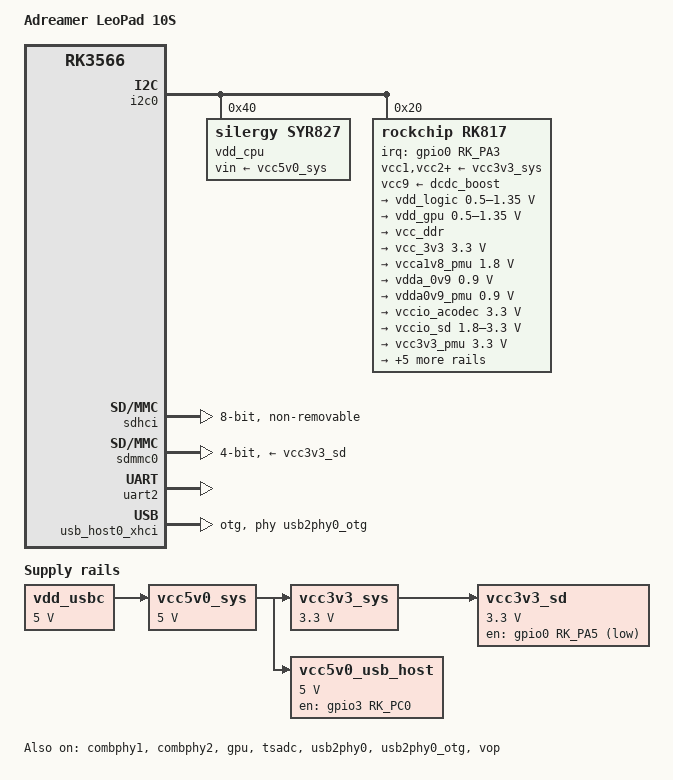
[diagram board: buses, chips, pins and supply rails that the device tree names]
// SPDX-License-Identifier: GPL-2.0-or-later OR MIT
/*
 * Copyright (c) 2025 Serhii Serhieiev <adron@ngnp.net>
 */

/dts-v1/;
#include <dt-bindings/gpio/gpio.h>
#include <dt-bindings/input/input.h>
#include <dt-bindings/leds/common.h>
#include <dt-bindings/pinctrl/rockchip.h>
#include <dt-bindings/soc/rockchip,vop2.h>
#include "rk3566.dtsi"

/ {
	model = "Adreamer LeoPad 10S";
	compatible = "adreamer,leopad-10s", "rockchip,rk3566";

	aliases {
		mmc0 = &sdmmc0;
		mmc1 = &sdhci;
	};

	chosen: chosen {
		stdout-path = "serial2:1500000n8";
	};

	vdd_usbc: vdd-usbc-regulator {
		compatible = "regulator-fixed";
		regulator-name = "vdd_usbc";
		regulator-always-on;
		regulator-boot-on;
		regulator-min-microvolt = <5000000>;
		regulator-max-microvolt = <5000000>;
	};

	vcc3v3_sys: regulator-vcc3v3-sys {
		compatible = "regulator-fixed";
		regulator-name = "vcc3v3_sys";
		regulator-always-on;
		regulator-boot-on;
		regulator-min-microvolt = <3300000>;
		regulator-max-microvolt = <3300000>;
		vin-supply = <&vcc5v0_sys>;
	};

	vcc5v0_sys: regulator-vcc5v0-sys {
		compatible = "regulator-fixed";
		regulator-name = "vcc5v0_sys";
		regulator-always-on;
		regulator-boot-on;
		regulator-min-microvolt = <5000000>;
		regulator-max-microvolt = <5000000>;
		vin-supply = <&vdd_usbc>;
	};

	vcc5v0_usb_host: regulator-vcc5v0-usb2-host {
		compatible = "regulator-fixed";
		enable-active-high;
		gpio = <&gpio3 RK_PC0 GPIO_ACTIVE_HIGH>;
		pinctrl-names = "default";
		pinctrl-0 = <&vcc5v0_usb_host_en>;
		regulator-name = "vcc5v0_usb2_host";
		regulator-always-on;
		regulator-boot-on;
		regulator-min-microvolt = <5000000>;
		regulator-max-microvolt = <5000000>;
		vin-supply = <&vcc5v0_sys>;
	};

	/*
	vcc5v0_usb_otg: regulator-vcc5v0-usb2-otg {
		compatible = "regulator-fixed";
		enable-active-high;
		gpio = <&gpio3 RK_PC0 GPIO_ACTIVE_HIGH>;
		regulator-name = "vcc5v0_usb2_otg";
		regulator-min-microvolt = <5000000>;
		regulator-max-microvolt = <5000000>;
		vin-supply = <&dcdc_boost>;
	}; */

	vcc3v3_sd: vcc3v3_sd {
		compatible = "regulator-fixed";
		gpio = <&gpio0 RK_PA5 GPIO_ACTIVE_LOW>;
		pinctrl-names = "default";
		pinctrl-0 = <&vcc_sd_h>;
		regulator-boot-on;
		regulator-name = "vcc3v3_sd";
		regulator-min-microvolt = <3300000>;
		regulator-max-microvolt = <3300000>;
		vin-supply = <&vcc3v3_sys>;
	};

};

&combphy1 {
	status = "okay";
};

&combphy2 {
	status = "okay";
};

&cpu0 {
	cpu-supply = <&vdd_cpu>;
};

&cpu1 {
	cpu-supply = <&vdd_cpu>;
};

&cpu2 {
	cpu-supply = <&vdd_cpu>;
};

&cpu3 {
	cpu-supply = <&vdd_cpu>;
};

&gpu {
	mali-supply = <&vdd_gpu>;
	status = "okay";
};

&i2c0 {
	status = "okay";

	vdd_cpu: regulator@40 {
		compatible = "silergy,syr827";
		reg = <0x40>;
		regulator-compatible = "fan53555-reg";
		fcs,suspend-voltage-selector = <1>;
		regulator-name = "vdd_cpu";
		regulator-min-microvolt = <712500>;
		regulator-max-microvolt = <1390000>;
		regulator-ramp-delay = <2300>;
		regulator-always-on;
		regulator-boot-on;
		vin-supply = <&vcc5v0_sys>;

		regulator-state-mem {
			regulator-off-in-suspend;
		};
	};

	rk817: pmic@20 {
		compatible = "rockchip,rk817";
		reg = <0x20>;
		interrupt-parent = <&gpio0>;
		interrupts = <RK_PA3 IRQ_TYPE_LEVEL_LOW>;
		clock-output-names = "rk808-clkout1", "rk808-clkout2";
		#clock-cells = <1>;
		pinctrl-names = "default";
		pinctrl-0 = <&pmic_int>, <&i2s1m0_mclk>;
		/* pinctrl-1 = <&soc_slppin_slp &rk817_slppin_slp>; */
		/* pinctrl-2 = <&soc_slppin_gpio &rk817_slppin_pwrdn>; */
		/* pinctrl-3 = <&soc_slppin_gpio &rk817_slppin_rst>; */
		rockchip,system-power-controller;
		#sound-dai-cells = <0>;
		wakeup-source;

		vcc1-supply = <&vcc3v3_sys>;
		vcc2-supply = <&vcc3v3_sys>;
		vcc3-supply = <&vcc3v3_sys>;
		vcc4-supply = <&vcc3v3_sys>;
		vcc5-supply = <&vcc3v3_sys>;
		vcc6-supply = <&vcc3v3_sys>;
		vcc7-supply = <&vcc3v3_sys>;
		vcc8-supply = <&vcc3v3_sys>;
		vcc9-supply = <&dcdc_boost>;

		regulators {
			vdd_logic: DCDC_REG1 {
				regulator-always-on;
				regulator-boot-on;
				regulator-min-microvolt = <500000>;
				regulator-max-microvolt = <1350000>;
				regulator-ramp-delay = <6001>;
				regulator-initial-mode = <0x2>;
				regulator-name = "vdd_logic";
				regulator-state-mem {
					regulator-on-in-suspend;
					regulator-suspend-microvolt = <900000>;
				};
			};

			vdd_gpu: DCDC_REG2 {
				regulator-always-on;
				regulator-boot-on;
				regulator-min-microvolt = <500000>;
				regulator-max-microvolt = <1350000>;
				regulator-ramp-delay = <6001>;
				regulator-initial-mode = <0x2>;
				regulator-name = "vdd_gpu";
					regulator-state-mem {
					regulator-off-in-suspend;
				};
			};

			vcc_ddr: DCDC_REG3 {
				regulator-always-on;
				regulator-boot-on;
				regulator-initial-mode = <0x2>;
				regulator-name = "vcc_ddr";
				regulator-state-mem {
					regulator-on-in-suspend;
				};
			};

			vcc_3v3: DCDC_REG4 {
				regulator-always-on;
				regulator-boot-on;
				regulator-min-microvolt = <3300000>;
				regulator-max-microvolt = <3300000>;
				regulator-initial-mode = <0x2>;
				regulator-name = "vcc_3v3";
				regulator-state-mem {
					regulator-off-in-suspend;
				};
			};

			vcca1v8_pmu: LDO_REG1 {
				regulator-always-on;
				regulator-boot-on;
				regulator-min-microvolt = <1800000>;
				regulator-max-microvolt = <1800000>;
				regulator-name = "vcca1v8_pmu";
				regulator-state-mem {
					regulator-on-in-suspend;
					regulator-suspend-microvolt = <1800000>;
				};
			};

			vdda_0v9: LDO_REG2 {
				regulator-always-on;
				regulator-boot-on;
				regulator-min-microvolt = <900000>;
				regulator-max-microvolt = <900000>;
				regulator-name = "vdda_0v9";
				regulator-state-mem {
					regulator-off-in-suspend;
				};
			};

			vdda0v9_pmu: LDO_REG3 {
				regulator-always-on;
				regulator-boot-on;
				regulator-min-microvolt = <900000>;
				regulator-max-microvolt = <900000>;
				regulator-name = "vdda0v9_pmu";
				regulator-state-mem {
					regulator-on-in-suspend;
					regulator-suspend-microvolt = <900000>;
				};
			};

			vccio_acodec: LDO_REG4 {
				regulator-always-on;
				regulator-boot-on;
				regulator-min-microvolt = <3300000>;
				regulator-max-microvolt = <3300000>;
				regulator-name = "vccio_acodec";
				regulator-state-mem {
					regulator-off-in-suspend;
				};
			};

			vccio_sd: LDO_REG5 {
				regulator-always-on;
				regulator-boot-on;
				regulator-min-microvolt = <1800000>;
				regulator-max-microvolt = <3300000>;
				regulator-name = "vccio_sd";
				regulator-state-mem {
					regulator-off-in-suspend;
				};
			};

			vcc3v3_pmu: LDO_REG6 {
				regulator-always-on;
				regulator-boot-on;
				regulator-min-microvolt = <3300000>;
				regulator-max-microvolt = <3300000>;
				regulator-name = "vcc3v3_pmu";
				regulator-state-mem {
					regulator-on-in-suspend;
					regulator-suspend-microvolt = <3300000>;
				};
			};

			vcc_1v8: LDO_REG7 {
				regulator-always-on;
				regulator-boot-on;
				regulator-min-microvolt = <1800000>;
				regulator-max-microvolt = <1800000>;
				regulator-name = "vcc_1v8";
				regulator-state-mem {
					regulator-off-in-suspend;
				};
			};

			vcc1v8_dvp: LDO_REG8 {
				regulator-always-on;
				regulator-boot-on;
				regulator-min-microvolt = <1800000>;
				regulator-max-microvolt = <1800000>;
				regulator-name = "vcc1v8_dvp";
				regulator-state-mem {
					regulator-off-in-suspend;
				};
			};

			vcc2v8_dvp: LDO_REG9 {
				regulator-always-on;
				regulator-boot-on;
				regulator-min-microvolt = <2800000>;
				regulator-max-microvolt = <2800000>;
				regulator-name = "vcc2v8_dvp";
				regulator-state-mem {
					regulator-off-in-suspend;
				};
			};

			dcdc_boost: BOOST {
				regulator-always-on;
				regulator-boot-on;
				regulator-min-microvolt = <5200000>;
				regulator-max-microvolt = <5400000>;
				regulator-name = "boost";
				regulator-state-mem {
					regulator-off-in-suspend;
				};
			};

			otg_switch: OTG_SWITCH {
				regulator-name = "otg_switch";
				regulator-state-mem {
					regulator-off-in-suspend;
				};
			};
		};

		battery {
			compatible = "rk817,battery";
			ocv_table = <3500 3625 3685 3697 3718 3735 3748
			3760 3774 3788 3802 3816 3834 3853
			3877 3908 3946 3975 4018 4071 4106>;
			design_capacity = <2500>;
			design_qmax = <2750>;
			bat_res = <100>;
			sleep_enter_current = <300>;
			sleep_exit_current = <300>;
			sleep_filter_current = <100>;
			power_off_thresd = <3500>;
			zero_algorithm_vol = <3850>;
			max_soc_offset = <60>;
			monitor_sec = <5>;
			sample_res = <10>;
			virtual_power = <1>;
		};

		charger {
			compatible = "rk817,charger";
			min_input_voltage = <4500>;
			max_input_current = <1500>;
			max_chrg_current = <2000>;
			max_chrg_voltage = <4350>;
			chrg_term_mode = <0>;
			chrg_finish_cur = <150>;
			virtual_power = <0>;
			dc_det_adc = <0>;
			extcon = <&usb2phy0>;
		};

		rk817_codec: codec {
			#sound-dai-cells = <0>;
			compatible = "rockchip,rk817-codec";
			/* clocks = <&cru SCLK_I2S1_OUT>; */
			clock-names = "mclk";
			pinctrl-names = "default";
			pinctrl-0 = <&i2s1m0_mclk>;
			hp-volume = <20>;
			spk-volume = <18>;
			capture-volume = <0>;
	    use-ext-amplifier;
			spk-ctl-gpios = <&gpio3 RK_PA2 GPIO_ACTIVE_HIGH>;
			status = "okay";
		};

	};

};

&pinctrl {
	pmic {
		pmic_int: pmic-int {
			rockchip,pins = <0 RK_PA3 RK_FUNC_GPIO &pcfg_pull_up>;
		};
	};

	usb {
		vcc5v0_usb_host_en: vcc5v0-usb-host-en {
			rockchip,pins = <3 RK_PC0 RK_FUNC_GPIO &pcfg_pull_none>;
		};
	};

	vcc_sd {
		vcc_sd_h: vcc-sd-h {
			rockchip,pins = <0 RK_PA5 RK_FUNC_GPIO &pcfg_pull_none>;
		};
	};

};

&pmu_io_domains {
	pmuio1-supply = <&vcc3v3_pmu>;
	pmuio2-supply = <&vcc3v3_pmu>;
	vccio1-supply = <&vccio_acodec>;
	vccio2-supply = <&vcc_1v8>;
	vccio3-supply = <&vccio_sd>;
	vccio4-supply = <&vcc_1v8>;
	vccio5-supply = <&vcc_3v3>;
	vccio6-supply = <&vcc1v8_dvp>;
	vccio7-supply = <&vcc_3v3>;
	status = "okay";
};

&sdhci {
	bus-width = <8>;
	max-frequency = <200000000>;
	mmc-hs200-1_8v;
	non-removable;
	pinctrl-names = "default";
	pinctrl-0 = <&emmc_bus8 &emmc_clk &emmc_cmd &emmc_datastrobe>;
	status = "okay";
};

&sdmmc0 {
	bus-width = <4>;
	cap-mmc-highspeed;
	cap-sd-highspeed;
	disable-wp;
	sd-uhs-sdr104;
	pinctrl-names = "default";
	pinctrl-0 = <&sdmmc0_bus4 &sdmmc0_clk &sdmmc0_cmd &sdmmc0_det>;
	vmmc-supply = <&vcc3v3_sd>;
	vqmmc-supply = <&vccio_sd>;
	status = "okay";
};

&tsadc {
	status = "okay";
};

&uart2 {
	status = "okay";
};

&usb2phy0 {
	/* vbus-supply = <&vcc5v0_usb_host>; */
	status = "okay";
};

&usb2phy0_host {
	/* phy-supply = <&vcc5v0_usb_host>; */
	/* status = "okay"; */
	status = "disabled";
};

&usb2phy0_otg {
	status = "okay";
};

&usb_host0_xhci {
	/* dr_mode = "otg"; */
	dr_mode = "otg";
	phy-names = "usb2-phy";
	phys = <&usb2phy0_otg>;
	extcon = <&usb2phy0>;
	snps,dis_enblslpm_quirk;
	snps,dis-u2-freeclk-exists-quirk;
	snps,dis-del-phy-power-chg-quirk;
	snps,dis-tx-ipgap-linecheck-quirk;
	snps,xhci-trb-ent-quirk;
	status = "okay";
};

&usb_host1_xhci {
	phy-names = "usb2-phy";
	phys = <&usb2phy0_host>;
	/* status = "okay"; */
	status = "disabled";
};

&vop {
	assigned-clocks = <&cru DCLK_VOP0>, <&cru DCLK_VOP1>;
	assigned-clock-parents = <&pmucru PLL_HPLL>, <&cru PLL_VPLL>;
	status = "okay";
};

&vop_mmu {
	status = "okay";
};
